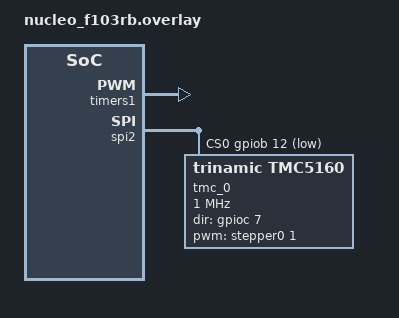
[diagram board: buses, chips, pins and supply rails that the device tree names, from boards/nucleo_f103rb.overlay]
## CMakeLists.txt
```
# Copyright (c) 2022, Stefano Cottafavi <stefano.cottafavi@gmail.com>
#
# SPDX-License-Identifier: Apache-2.0

list(APPEND ZEPHYR_EXTRA_MODULES
	${CMAKE_CURRENT_SOURCE_DIR}/../../drivers
)

cmake_minimum_required(VERSION 3.20.0)

# required for apps
find_package(Zephyr REQUIRED HINTS $ENV{ZEPHYR_BASE})

project(tmc-sd)

zephyr_include_directories(src)

target_sources(app PRIVATE
	src/main.c
)
```

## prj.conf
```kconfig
CONFIG_SHELL=y
#CONFIG_SHELL_BACKEND_SERIAL_RX_POLL_PERIOD=100

#CONFIG_SHELL_BACKEND_SERIAL=y
#CONFIG_SHELL_MINIMAL=y
#CONFIG_SHELL_LOG_BACKEND=y

#CONFIG_UART_CONSOLE=y

CONFIG_STDOUT_CONSOLE=y
CONFIG_PRINTK=y

CONFIG_LOG=y
CONFIG_LOG_PRINTK=y
CONFIG_LOG_MODE_IMMEDIATE=y

CONFIG_GPIO=y
CONFIG_PWM=y

CONFIG_SENSOR=y
CONFIG_SENSOR_LOG_LEVEL_DBG=y

CONFIG_TMC_SPI=y
CONFIG_TMC_SD=y
CONFIG_TMC5160=y
```

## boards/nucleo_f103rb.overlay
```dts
/*
 * Copyright (c) 2022, Stefano Cottafavi <stefano.cottafavi@gmail.com>
 *
 * SPDX-License-Identifier: Apache-2.0
 */

 #include <zephyr/dt-bindings/pinctrl/stm32f1-pinctrl.h>

/ {
	aliases {
	   uart1 = &usart1;
	   uart2 = &usart2;
	   tmc0 = &tmc_0;
   	};

};

// USART1 tx:PA9 (rx:PA10, not used in single-wire mode)

&timers1 {
	status = "okay";
	st,prescaler = <100>;
	stepper0: pwm {
		status = "okay";
		pinctrl-0 = < &tim1_ch1_pwm_pa8 >;
		pinctrl-names = "default";
	};
};

&spi2 {
	cs-gpios = <&gpiob 12 (GPIO_ACTIVE_LOW | GPIO_PULL_UP)>;

	tmc_0: tmc5160@0 {
		compatible = "trinamic,tmc5160";
		status = "okay";
		reg = <0x00>;

		// 4MHz internal, 8MHz external clock
		// TODO: seems not to work for higher speed than 1MHz
		spi-max-frequency = <1000000>;

		// step/dir
		pwms = <&stepper0 1 10000 PWM_POLARITY_NORMAL>;
		dir-gpios = <&gpioc 7 GPIO_ACTIVE_HIGH>;
	};
};
```

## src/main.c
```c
/*
 * Copyright (c) 2022, Stefano Cottafavi <stefano.cottafavi@gmail.com>
 *
 * SPDX-License-Identifier: Apache-2.0
 */

#include <zephyr/kernel.h>
#include <zephyr/device.h>
#include <zephyr/drivers/gpio.h>
#include <zephyr/sys/util.h>

#include "tmc5160.h"

#define SLEEP_TIME_MS   1000

uint8_t toggle, toggle_old;

const struct device *tmc0 = DEVICE_DT_GET( DT_ALIAS(tmc0) );
struct gpio_dt_spec led = GPIO_DT_SPEC_GET( DT_ALIAS(led0), gpios);

#define SW0_NODE	DT_ALIAS(sw0)
#if !DT_NODE_HAS_STATUS(SW0_NODE, okay)
#error "Unsupported board: sw0 devicetree alias is not defined"
#endif
static const struct gpio_dt_spec button = GPIO_DT_SPEC_GET_OR(SW0_NODE, gpios, {0});
static struct gpio_callback button_cb_data;

// start/stop motor
void button_pressed(const struct device *dev, struct gpio_callback *cb, uint32_t pins) {
	toggle = !toggle;
}

void main(void)
{
	int ret;

	// config button
	if (!device_is_ready(button.port)) {
		printk("Error: button device %s is not ready\n",
		       button.port->name);
		return;
	}

	ret = gpio_pin_configure_dt(&button, GPIO_INPUT);
	if (ret != 0) {
		printk("Error %d: failed to configure %s pin %d\n",
		       ret, button.port->name, button.pin);
		return;
	}

	ret = gpio_pin_interrupt_configure_dt(&button, GPIO_INT_EDGE_TO_ACTIVE);
	if (ret != 0) {
		printk("Error %d: failed to configure interrupt on %s pin %d\n",
			ret, button.port->name, button.pin);
		return;
	}

	gpio_init_callback(&button_cb_data, button_pressed, BIT(button.pin));
	gpio_add_callback(button.port, &button_cb_data);
	printk("Set up button at %s pin %d\n", button.port->name, button.pin);


	// check tmc
	if (!device_is_ready(tmc0)) {
		printk("TMC device not ready\n");
		return;
	}

	// config LED
	if( !device_is_ready(led.port) ) {
		return;
	}
	if( gpio_pin_configure_dt(&led, GPIO_OUTPUT_ACTIVE) < 0 ) {
		return;
	}
	gpio_pin_set_dt(&led, 0);

	// set stand-still in speed mode
	//tmc_run(tmc0, 0, 0, 0);
	int8_t count = 0;

	while (1) {

		if(toggle!=toggle_old) {
			// set LED
			if( gpio_pin_set_dt(&led, toggle) < 0 ) {
				return;
			}

			count++;
			// start/stop motor
			if(count == 2)
				count=-1;

			tmc_run(tmc0, 0, count*60, 0);

			toggle_old = toggle;
		}

		k_sleep(K_MSEC(100));
	}

}
```
